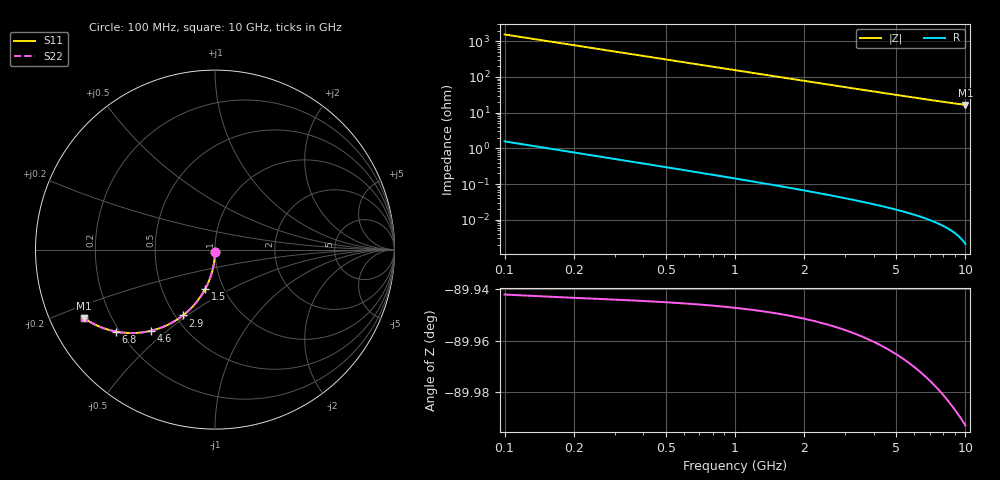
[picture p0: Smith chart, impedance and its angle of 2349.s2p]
# Hz S RI R 50.00
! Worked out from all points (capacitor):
!   100 points, 100 MHz to 10 GHz, reference 50 ohm
!   read as one part in shunt: C = 1.02 pF near 100 MHz
!   lowest |Z| = 16.5 ohm at 10 GHz (marker M1)
!   S11 on the Smith chart (normalised r, x): 100 MHz: 1.00, -0.03; 1.5 GHz: 0.82, -0.38; 2.9 GHz: 0.55, -0.48; 4.6 GHz: 0.33, -0.44; 6.8 GHz: 0.19, -0.35; 10 GHz: 0.10, -0.24
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1e8  0.000332 -0.0155  0.9991 -0.0167  0.9991 -0.0167  0.000332 -0.0155
2e8  -0.000454 -0.031  0.9983 -0.0333  0.9983 -0.0333  -0.000454 -0.031
3e8  -0.00175 -0.0464  0.997 -0.0499  0.997 -0.0499  -0.00175 -0.0464
4e8  -0.00356 -0.0618  0.9952 -0.0664  0.9952 -0.0664  -0.00356 -0.0618
5e8  -0.00588 -0.077  0.9929 -0.0828  0.9929 -0.0828  -0.00588 -0.077
6e8  -0.00869 -0.0922  0.99 -0.0991  0.99 -0.0991  -0.00869 -0.0922
7e8  -0.012 -0.1071  0.9867 -0.1152  0.9867 -0.1152  -0.012 -0.1071
9e8  -0.02 -0.1366  0.9787 -0.1469  0.9787 -0.1469  -0.02 -0.1366
1.2e9  -0.0354 -0.1792  0.9632 -0.193  0.9632 -0.193  -0.0354 -0.1792
1.5e9  -0.0546 -0.2194  0.944 -0.2367  0.944 -0.2367  -0.0546 -0.2194
1.8e9  -0.077 -0.2569  0.9215 -0.2776  0.9215 -0.2776  -0.077 -0.2569
2.3e9  -0.1202 -0.3124  0.8782 -0.3389  0.8782 -0.3389  -0.1202 -0.3124
2.9e9  -0.1789 -0.3667  0.8193 -0.4002  0.8193 -0.4002  -0.1789 -0.3667
3.4e9  -0.2308 -0.4018  0.7671 -0.4411  0.7671 -0.4411  -0.2308 -0.4018
4e9  -0.294 -0.4324  0.7036 -0.4787  0.7036 -0.4787  -0.294 -0.4324
4.6e9  -0.3558 -0.452  0.6415 -0.5052  0.6415 -0.5052  -0.3558 -0.452
5.1e9  -0.405 -0.461  0.5919 -0.5202  0.5919 -0.5202  -0.405 -0.461
5.9e9  -0.4778 -0.4647  0.5185 -0.5333  0.5185 -0.5333  -0.4778 -0.4647
6.7e9  -0.5425 -0.4583  0.4531 -0.5364  0.4531 -0.5364  -0.5425 -0.4583
6.8e9  -0.55 -0.457  0.4455 -0.5363  0.4455 -0.5363  -0.55 -0.457
8.4e9  -0.6534 -0.4248  0.3403 -0.5236  0.3403 -0.5236  -0.6534 -0.4248
1e10  -0.7299 -0.3818  0.2615 -0.5004  0.2615 -0.5004  -0.7299 -0.3818
